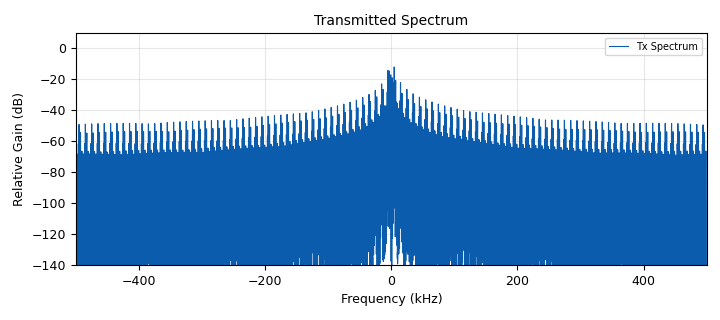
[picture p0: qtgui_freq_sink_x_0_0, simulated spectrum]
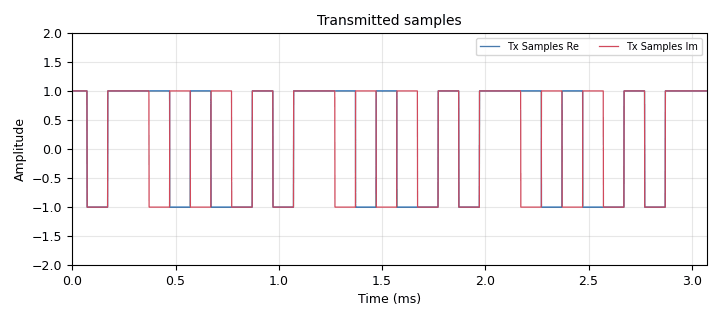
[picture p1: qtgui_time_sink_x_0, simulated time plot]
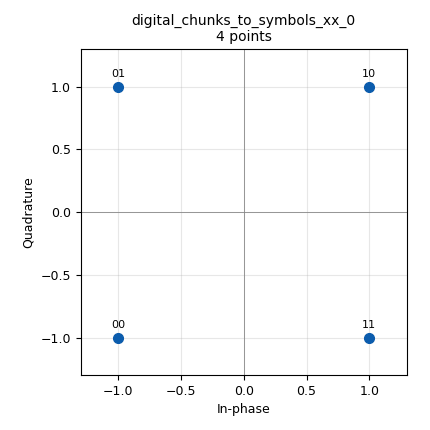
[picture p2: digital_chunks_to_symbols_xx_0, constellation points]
options:
  parameters:
    generate_options: qt_gui
    id: QPSK_raw_loopback_pluto
    output_language: python
    title: QPSK_raw_loopback_pluto
  states: {}

blocks:
- name: buff_size
  id: variable
  parameters:
    value: int(32768)
  states: {}
- name: lo_freq
  id: variable
  parameters:
    value: '3200000000'
  states: {}
- name: lo_tx_offset
  id: variable
  parameters:
    value: int(0)
  states: {}
- name: offset_rx
  id: variable_qtgui_range
  parameters:
    gui_hint: (2,0,1,2)
    start: '-500000'
    step: '1'
    stop: '0'
    value: '-250000'
  states: {}
- name: offset_tx
  id: variable
  parameters:
    value: '250000'
  states: {}
- name: pluto_ip
  id: variable_config
  parameters:
    config_file: default
    option: key
    section: main
    type: string
    value: ip:192.168.2.1
    writeback: None
  states: {}
- name: rx_gain
  id: variable_qtgui_range
  parameters:
    label: Rx Gain
    start: '0'
    step: '1'
    stop: '60'
    value: '15'
  states: {}
- name: samp_rate
  id: variable
  parameters:
    value: '1000000'
  states: {}
- name: sps
  id: variable
  parameters:
    value: '100'
  states: {}
- name: tx_attenuation
  id: variable_qtgui_range
  parameters:
    label: Tx Attenuation
    start: '0'
    step: '1'
    stop: '89'
    value: '10'
  states: {}
- name: analog_sig_source_x_0_0
  id: analog_sig_source_x
  parameters:
    amp: '1'
    freq: offset_tx
    offset: '0'
    phase: '0'
    samp_rate: samp_rate
    type: complex
    waveform: analog.GR_COS_WAVE
  states: {}
- name: analog_sig_source_x_0_0_0
  id: analog_sig_source_x
  parameters:
    amp: '1'
    freq: offset_rx
    offset: '0'
    phase: '0'
    samp_rate: samp_rate
    type: complex
    waveform: analog.GR_COS_WAVE
  states: {}
- name: blocks_multiply_xx_0_0
  id: blocks_multiply_xx
  parameters:
    type: complex
  states: {}
- name: blocks_multiply_xx_0_0_0
  id: blocks_multiply_xx
  parameters:
    type: complex
  states: {}
- name: blocks_repeat_0
  id: blocks_repeat
  parameters:
    interp: sps
    type: complex
  states: {}
- name: blocks_vector_source_x_0
  id: blocks_vector_source_x
  parameters:
    repeat: 'True'
    type: byte
    vector: (2,2,3,1,3,1,0,2,0)
  states: {}
- name: digital_chunks_to_symbols_xx_0
  id: digital_chunks_to_symbols_xx
  parameters:
    dimension: '1'
    in_type: byte
    out_type: complex
    symbol_table: (-1 -1j,-1+1j, +1+1j,+1-1j)
  states: {}
- name: iio_pluto_sink_0
  id: iio_pluto_sink
  parameters:
    attenuation1: tx_attenuation
    bandwidth: samp_rate
    buffer_size: buff_size
    cyclic: 'False'
    filter_source: '''Auto'''
    frequency: lo_freq - lo_tx_offset
    samplerate: samp_rate
    type: fc32
    uri: pluto_ip
  states: {}
- name: iio_pluto_source_0
  id: iio_pluto_source
  parameters:
    bandwidth: int(samp_rate)
    bbdc: 'True'
    buffer_size: buff_size
    filter_source: '''Auto'''
    frequency: lo_freq
    gain1: '''manual'''
    manual_gain1: rx_gain
    quadrature: 'True'
    rfdc: 'True'
    samplerate: samp_rate
    type: fc32
    uri: pluto_ip
  states: {}
- name: qtgui_const_sink_x_0
  id: qtgui_const_sink_x
  parameters:
    grid: 'True'
    gui_hint: (3,0,1,1)
    label1: Rx Constellation
    name: '"Received constellation"'
    size: '1024'
    type: complex
    update_time: '0.50'
  states: {}
- name: qtgui_freq_sink_x_0
  id: qtgui_freq_sink_x
  parameters:
    bw: samp_rate
    fc: '0'
    fftsize: '8192'
    grid: 'True'
    gui_hint: (1,1,1,1)
    label1: Rx Spectrum Raw
    name: '"Received spectrum"'
    type: complex
  states: {}
- name: qtgui_freq_sink_x_0_0
  id: qtgui_freq_sink_x
  parameters:
    bw: samp_rate
    fc: '0'
    fftsize: '8192'
    grid: 'True'
    gui_hint: (0,1,1,1)
    label1: Tx Spectrum
    name: '"Transmitted Spectrum"'
    type: complex
  states: {}
- name: qtgui_time_sink_x_0
  id: qtgui_time_sink_x
  parameters:
    grid: 'True'
    gui_hint: (0,0,1,1)
    label1: Tx Samples Re
    label2: Tx Samples Im
    name: '"Transmitted samples"'
    size: 1024*3
    srate: samp_rate
    type: complex
    ymax: '2'
    ymin: '-2'
  states: {}
- name: qtgui_time_sink_x_1
  id: qtgui_time_sink_x
  parameters:
    grid: 'True'
    gui_hint: (1,0,1,1)
    label1: Rx Samples Raw Re
    label2: Rx Samples Raw Im
    name: '"Received Samples Raw"'
    size: 1024*3
    srate: samp_rate
    type: complex
  states: {}

connections:
- [analog_sig_source_x_0_0, '0', blocks_multiply_xx_0_0, '1']
- [analog_sig_source_x_0_0_0, '0', blocks_multiply_xx_0_0_0, '1']
- [blocks_multiply_xx_0_0, '0', iio_pluto_sink_0, '0']
- [blocks_multiply_xx_0_0_0, '0', qtgui_const_sink_x_0, '0']
- [blocks_multiply_xx_0_0_0, '0', qtgui_freq_sink_x_0, '0']
- [blocks_multiply_xx_0_0_0, '0', qtgui_time_sink_x_1, '0']
- [blocks_repeat_0, '0', blocks_multiply_xx_0_0, '0']
- [blocks_repeat_0, '0', qtgui_freq_sink_x_0_0, '0']
- [blocks_repeat_0, '0', qtgui_time_sink_x_0, '0']
- [blocks_vector_source_x_0, '0', digital_chunks_to_symbols_xx_0, '0']
- [digital_chunks_to_symbols_xx_0, '0', blocks_repeat_0, '0']
- [iio_pluto_source_0, '0', blocks_multiply_xx_0_0_0, '0']

metadata:
  file_format: 1
  grc_version: 3.10.11.0
